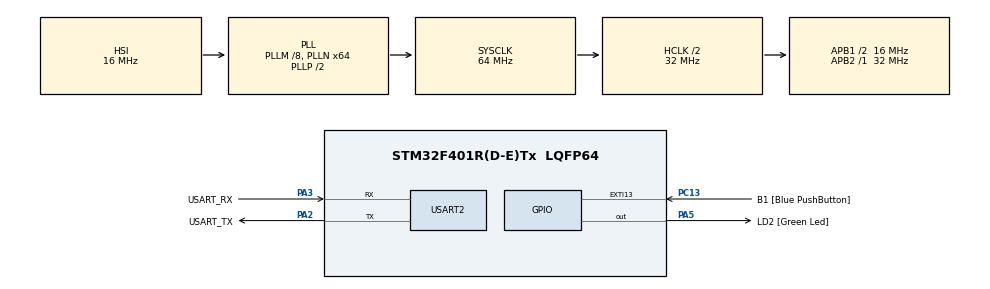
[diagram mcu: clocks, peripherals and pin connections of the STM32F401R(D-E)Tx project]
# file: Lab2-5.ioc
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Mcu.Family=STM32F4
Mcu.Name=STM32F401R(D-E)Tx
Mcu.Package=LQFP64
NVIC.PriorityGroup=NVIC_PRIORITYGROUP_0
PA13.GPIO_Label=TMS
PA13.Mode=Serial_Wire
PA13.Signal=SYS_JTMS-SWDIO
PA14.GPIO_Label=TCK
PA14.Mode=Serial_Wire
PA14.Signal=SYS_JTCK-SWCLK
PA2.GPIO_Label=USART_TX
PA2.GPIO_Mode=GPIO_MODE_AF_PP
PA2.GPIO_PuPd=GPIO_NOPULL
PA2.GPIO_Speed=GPIO_SPEED_FREQ_LOW
PA2.Mode=Asynchronous
PA2.Signal=USART2_TX
PA3.GPIO_Label=USART_RX
PA3.GPIO_Mode=GPIO_MODE_AF_PP
PA3.GPIO_PuPd=GPIO_NOPULL
PA3.GPIO_Speed=GPIO_SPEED_FREQ_LOW
PA3.Mode=Asynchronous
PA3.Signal=USART2_RX
PA5.GPIO_Label=LD2 [Green Led]
PA5.GPIO_Mode=GPIO_MODE_OUTPUT_PP
PA5.GPIO_PuPd=GPIO_NOPULL
PA5.GPIO_Speed=GPIO_SPEED_FREQ_LOW
PA5.Signal=GPIO_Output
PB3.GPIO_Label=SWO
PB3.Signal=SYS_JTDO-SWO
PC13-ANTI_TAMP.GPIO_Label=B1 [Blue PushButton]
PC13-ANTI_TAMP.GPIO_ModeDefaultEXTI=GPIO_MODE_IT_FALLING
PC13-ANTI_TAMP.GPIO_PuPd=GPIO_NOPULL
PC13-ANTI_TAMP.Signal=GPXTI13
PC14-OSC32_IN.Mode=LSE-External-Oscillator
PC14-OSC32_IN.Signal=RCC_OSC32_IN
PC15-OSC32_OUT.Mode=LSE-External-Oscillator
PC15-OSC32_OUT.Signal=RCC_OSC32_OUT
PH0\ -\ OSC_IN.Mode=HSE-External-Clock-Source
PH0\ -\ OSC_IN.Signal=RCC_OSC_IN
PH1\ -\ OSC_OUT.Mode=HSE-External-Clock-Source
PH1\ -\ OSC_OUT.Signal=RCC_OSC_OUT
ProjectManager.HeapSize=0x200
ProjectManager.StackSize=0x400
ProjectManager.TargetToolchain=STM32CubeIDE
RCC.48MHZClocksFreq_Value=18285714.285714287
RCC.AHBCLKDivider=RCC_SYSCLK_DIV2
RCC.AHBFreq_Value=32000000
RCC.APB1CLKDivider=RCC_HCLK_DIV2
RCC.APB1Freq_Value=16000000
RCC.APB1TimFreq_Value=32000000
RCC.APB2Freq_Value=32000000
RCC.APB2TimFreq_Value=32000000
RCC.CortexFreq_Value=32000000
RCC.HCLKFreq_Value=32000000
RCC.HSE_VALUE=8000000
RCC.HSI_VALUE=16000000
RCC.PLLM=8
RCC.PLLN=64
RCC.PLLQ=7
RCC.SYSCLKFreq_VALUE=64000000
RCC.SYSCLKSource=RCC_SYSCLKSOURCE_PLLCLK
RCC.VCOOutputFreq_Value=128000000
USART2.VirtualMode=VM_ASYNC
board=NUCLEO-F401RE

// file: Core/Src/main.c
/* USER CODE BEGIN Header */
/**
  ******************************************************************************
  * @file           : main.c
  * @brief          : Main program body
  ******************************************************************************
  * @attention
  *
  * Copyright (c) 2022 STMicroelectronics.
  * All rights reserved.
  *
  * This software is licensed under terms that can be found in the LICENSE file
  * in the root directory of this software component.
  * If no LICENSE file comes with this software, it is provided AS-IS.
  *
  ******************************************************************************
  */
/* USER CODE END Header */
#include "main.h"
#include "stdio.h"

UART_HandleTypeDef huart2;

void SystemClock_Config(void);
static void MX_GPIO_Init(void);
static void MX_USART2_UART_Init(void);

int main(void)
{
  /* USER CODE BEGIN 1 */
  char c[1];
  char lc;
  int stage = 0;
  /* USER CODE END 1 */

  /* MCU Configuration--------------------------------------------------------*/

  /* Reset of all peripherals, Initializes the Flash interface and the Systick. */
  HAL_Init();

  /* Configure the system clock */
  SystemClock_Config();

  /* Initialize all configured peripherals */
  MX_GPIO_Init();
  MX_USART2_UART_Init();

  /* Infinite loop */
  while (1)
  {

    /* USER CODE BEGIN 3 */
	  if(HAL_UART_Receive(&huart2,c,sizeof(c),HAL_MAX_DELAY) == HAL_OK){

	  		lc = c[0];
	  		HAL_UART_Transmit(&huart2, &c, sizeof(c), 100);
	  		switch(stage)
	  		{
	  			case 0:
	  				if(lc=='o'){
	  					stage = 1;
	  				}else if(lc=='\r'){
	  					stage = 0;
	  				}else{
	  					stage = 5;
	  				}
	  				break;
	  			case 1:
	  				if(lc=='n'){
	  					stage = 2;
	  				}else if(lc=='f'){
	  					stage = 3;
	  				}else if(lc=='\r'){
	  					stage = 0;
	  				}else{
	  					stage = 5;
	  				}
	  				break;
	  			case 2:
	  				if(lc=='\r'){
	  					HAL_GPIO_WritePin(LD2_GPIO_Port, LD2_Pin, SET);
	  					stage = 0;
	  				}else{
	  					stage = 5;
	  				}
	  				break;
	  			case 3:
	  				if(lc=='f'){
	  					stage = 4;
	  				}else if(lc=='\r'){
	  					stage = 0;
	  				}else{
	  					stage = 5;
	  				}
	  				break;
	  			case 4:
	  				if(lc=='\r'){
	  					HAL_GPIO_WritePin(LD2_GPIO_Port, LD2_Pin, RESET);
	  					stage = 0;
	  				}else{
	  					stage = 5;
	  				}
	  				break;
	  			case 5:
	  				if(lc=='\r'){
	  					stage = 0;
	  				}else{
	  					stage = 5;
	  				}
	  				break;
	  		 }
	  	}
  }
  /* USER CODE END 3 */
}

void SystemClock_Config(void)
{
  RCC_OscInitTypeDef RCC_OscInitStruct = {0};
  RCC_ClkInitTypeDef RCC_ClkInitStruct = {0};

  /** Configure the main internal regulator output voltage
  */
  __HAL_RCC_PWR_CLK_ENABLE();
  __HAL_PWR_VOLTAGESCALING_CONFIG(PWR_REGULATOR_VOLTAGE_SCALE2);
  /** Initializes the RCC Oscillators according to the specified parameters
  * in the RCC_OscInitTypeDef structure.
  */
  RCC_OscInitStruct.OscillatorType = RCC_OSCILLATORTYPE_HSI;
  RCC_OscInitStruct.HSIState = RCC_HSI_ON;
  RCC_OscInitStruct.HSICalibrationValue = RCC_HSICALIBRATION_DEFAULT;
  RCC_OscInitStruct.PLL.PLLState = RCC_PLL_ON;
  RCC_OscInitStruct.PLL.PLLSource = RCC_PLLSOURCE_HSI;
  RCC_OscInitStruct.PLL.PLLM = 8;
  RCC_OscInitStruct.PLL.PLLN = 64;
  RCC_OscInitStruct.PLL.PLLP = RCC_PLLP_DIV2;
  RCC_OscInitStruct.PLL.PLLQ = 7;
  if (HAL_RCC_OscConfig(&RCC_OscInitStruct) != HAL_OK)
  {
    Error_Handler();
  }
  /** Initializes the CPU, AHB and APB buses clocks
  */
  RCC_ClkInitStruct.ClockType = RCC_CLOCKTYPE_HCLK|RCC_CLOCKTYPE_SYSCLK
                              |RCC_CLOCKTYPE_PCLK1|RCC_CLOCKTYPE_PCLK2;
  RCC_ClkInitStruct.SYSCLKSource = RCC_SYSCLKSOURCE_PLLCLK;
  RCC_ClkInitStruct.AHBCLKDivider = RCC_SYSCLK_DIV2;
  RCC_ClkInitStruct.APB1CLKDivider = RCC_HCLK_DIV2;
  RCC_ClkInitStruct.APB2CLKDivider = RCC_HCLK_DIV1;

  if (HAL_RCC_ClockConfig(&RCC_ClkInitStruct, FLASH_LATENCY_1) != HAL_OK)
  {
    Error_Handler();
  }
}

static void MX_USART2_UART_Init(void)
{

  huart2.Instance = USART2;
  huart2.Init.BaudRate = 115200;
  huart2.Init.WordLength = UART_WORDLENGTH_8B;
  huart2.Init.StopBits = UART_STOPBITS_1;
  huart2.Init.Parity = UART_PARITY_NONE;
  huart2.Init.Mode = UART_MODE_TX_RX;
  huart2.Init.HwFlowCtl = UART_HWCONTROL_NONE;
  huart2.Init.OverSampling = UART_OVERSAMPLING_16;
  if (HAL_UART_Init(&huart2) != HAL_OK)
  {
    Error_Handler();
  }

}

static void MX_GPIO_Init(void)
{
  GPIO_InitTypeDef GPIO_InitStruct = {0};

  /* GPIO Ports Clock Enable */
  __HAL_RCC_GPIOC_CLK_ENABLE();
  __HAL_RCC_GPIOH_CLK_ENABLE();
  __HAL_RCC_GPIOA_CLK_ENABLE();
  __HAL_RCC_GPIOB_CLK_ENABLE();

  /*Configure GPIO pin Output Level */
  HAL_GPIO_WritePin(LD2_GPIO_Port, LD2_Pin, GPIO_PIN_RESET);

  /*Configure GPIO pin : B1_Pin */
  GPIO_InitStruct.Pin = B1_Pin;
  GPIO_InitStruct.Mode = GPIO_MODE_IT_FALLING;
  GPIO_InitStruct.Pull = GPIO_NOPULL;
  HAL_GPIO_Init(B1_GPIO_Port, &GPIO_InitStruct);

  /*Configure GPIO pin : LD2_Pin */
  GPIO_InitStruct.Pin = LD2_Pin;
  GPIO_InitStruct.Mode = GPIO_MODE_OUTPUT_PP;
  GPIO_InitStruct.Pull = GPIO_NOPULL;
  GPIO_InitStruct.Speed = GPIO_SPEED_FREQ_LOW;
  HAL_GPIO_Init(LD2_GPIO_Port, &GPIO_InitStruct);

}

void Error_Handler(void)
{
  __disable_irq();
  while (1)
  {
  }
}
